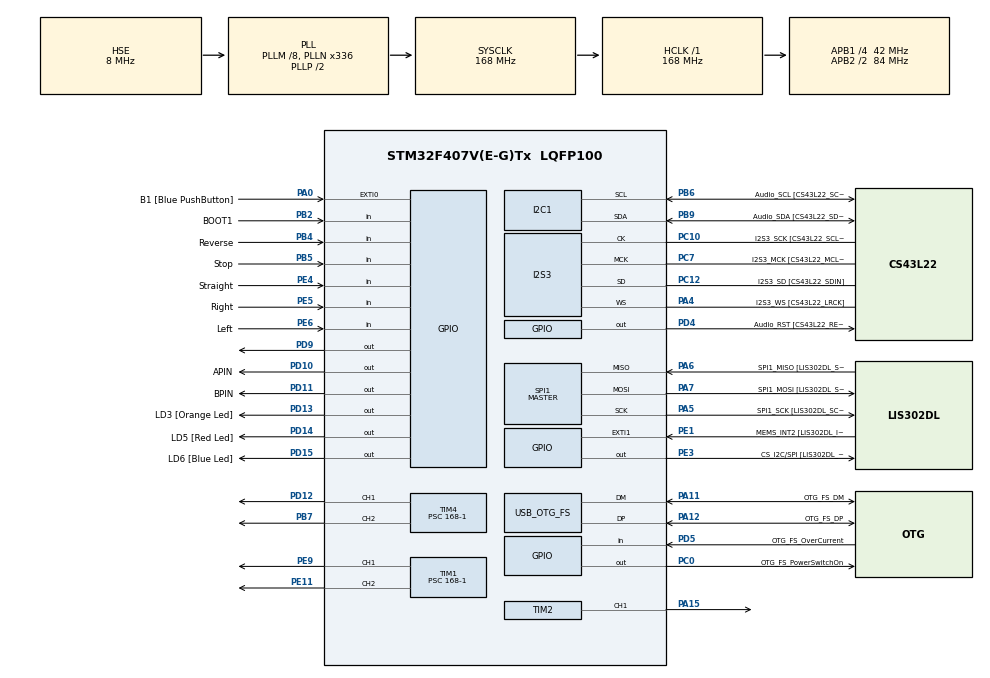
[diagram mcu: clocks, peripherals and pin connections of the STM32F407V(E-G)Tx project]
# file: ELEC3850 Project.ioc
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I2S3.AudioFreq-Half_Duplex_Master=I2S_AUDIOFREQ_96K
I2S3.ErrorAudioFreq=-2.34 %
I2S3.ErrorAudioFreq-Half_Duplex_Master=0.8 %
I2S3.FullDuplexMode=I2S_FULLDUPLEXMODE_DISABLE
I2S3.Instance=SPI$Index
I2S3.RealAudioFreq=93.75 KHz
I2S3.RealAudioFreq-Half_Duplex_Master=96.774 KHz
I2S3.VirtualMode=I2S_MODE_MASTER
Mcu.Family=STM32F4
Mcu.Name=STM32F407V(E-G)Tx
Mcu.Package=LQFP100
NVIC.EXTI0_IRQn=true\:0\:0\:false\:false\:true\:true\:true
NVIC.OTG_FS_IRQn=true\:0\:0\:false\:false\:true\:true\:true
NVIC.PriorityGroup=NVIC_PRIORITYGROUP_0
NVIC.TIM3_IRQn=true\:0\:0\:false\:false\:true\:true\:true
PA0-WKUP.GPIO_Label=B1 [Blue PushButton]
PA0-WKUP.GPIO_ModeDefaultEXTI=GPIO_MODE_IT_RISING
PA0-WKUP.GPIO_PuPd=GPIO_NOPULL
PA0-WKUP.Signal=GPXTI0
PA10.GPIO_Label=OTG_FS_ID
PA10.GPIO_Mode=GPIO_MODE_AF_PP
PA10.GPIO_PuPd=GPIO_NOPULL
PA10.GPIO_Speed=GPIO_SPEED_FREQ_LOW
PA10.Signal=USB_OTG_FS_ID
PA11.GPIO_Label=OTG_FS_DM
PA11.GPIO_Mode=GPIO_MODE_AF_PP
PA11.GPIO_PuPd=GPIO_NOPULL
PA11.GPIO_Speed=GPIO_SPEED_FREQ_LOW
PA11.Mode=Device_Only
PA11.Signal=USB_OTG_FS_DM
PA12.GPIO_Label=OTG_FS_DP
PA12.GPIO_Mode=GPIO_MODE_AF_PP
PA12.GPIO_PuPd=GPIO_NOPULL
PA12.GPIO_Speed=GPIO_SPEED_FREQ_LOW
PA12.Mode=Device_Only
PA12.Signal=USB_OTG_FS_DP
PA13.GPIO_Label=SWDIO
PA13.Mode=Serial_Wire
PA13.Signal=SYS_JTMS-SWDIO
PA14.GPIO_Label=SWCLK
PA14.Mode=Serial_Wire
PA14.Signal=SYS_JTCK-SWCLK
PA15.Signal=S_TIM2_CH1_ETR
PA4.GPIO_Label=I2S3_WS [CS43L22_LRCK]
PA4.GPIO_Mode=GPIO_MODE_AF_PP
PA4.GPIO_PuPd=GPIO_NOPULL
PA4.GPIO_Speed=GPIO_SPEED_FREQ_LOW
PA4.Mode=Half_Duplex_Master
PA4.Signal=I2S3_WS
PA5.GPIO_Label=SPI1_SCK [LIS302DL_SCL/SPC]
PA5.GPIO_Mode=GPIO_MODE_AF_PP
PA5.GPIO_PuPd=GPIO_NOPULL
PA5.GPIO_Speed=GPIO_SPEED_FREQ_LOW
PA5.Mode=Full_Duplex_Master
PA5.Signal=SPI1_SCK
PA6.GPIO_Label=SPI1_MISO [LIS302DL_SDO]
PA6.GPIO_Mode=GPIO_MODE_AF_PP
PA6.GPIO_PuPd=GPIO_NOPULL
PA6.GPIO_Speed=GPIO_SPEED_FREQ_LOW
PA6.Mode=Full_Duplex_Master
PA6.Signal=SPI1_MISO
PA7.GPIO_Label=SPI1_MOSI [LIS302DL_SDA/SDI/SDO]
PA7.GPIO_Mode=GPIO_MODE_AF_PP
PA7.GPIO_PuPd=GPIO_NOPULL
PA7.GPIO_Speed=GPIO_SPEED_FREQ_LOW
PA7.Mode=Full_Duplex_Master
PA7.Signal=SPI1_MOSI
PA9.GPIO_Label=VBUS_FS
PA9.GPIO_Mode=GPIO_MODE_INPUT
PA9.GPIO_PuPd=GPIO_NOPULL
PA9.Signal=USB_OTG_FS_VBUS
PB10.GPIO_Label=CLK_IN [MP45DT02_CLK]
PB10.GPIO_Mode=GPIO_MODE_AF_PP
PB10.GPIO_PuPd=GPIO_NOPULL
PB10.GPIO_Speed=GPIO_SPEED_FREQ_LOW
PB10.Signal=I2S2_CK
PB2.GPIO_Label=BOOT1
PB2.GPIO_Mode=GPIO_MODE_INPUT
PB2.GPIO_PuPd=GPIO_NOPULL
PB2.Signal=GPIO_Input
PB3.GPIO_Label=SWO
PB3.Signal=SYS_JTDO-SWO
PB4.GPIO_Label=Reverse
PB4.GPIO_PuPd=GPIO_PULLDOWN
PB4.Signal=GPIO_Input
PB5.GPIO_Label=Stop
PB5.GPIO_PuPd=GPIO_PULLDOWN
PB5.Signal=GPIO_Input
PB6.GPIO_Label=Audio_SCL [CS43L22_SCL]
PB6.GPIO_Mode=GPIO_MODE_AF_OD
PB6.GPIO_PuPd=GPIO_NOPULL
PB6.GPIO_Speed=GPIO_SPEED_FREQ_LOW
PB6.Mode=I2C
PB6.Signal=I2C1_SCL
PB7.Signal=S_TIM4_CH2
PB9.GPIO_Label=Audio_SDA [CS43L22_SDA]
PB9.GPIO_Mode=GPIO_MODE_AF_OD
PB9.GPIO_PuPd=GPIO_NOPULL
PB9.GPIO_Speed=GPIO_SPEED_FREQ_LOW
PB9.Mode=I2C
PB9.Signal=I2C1_SDA
PC0.GPIO_Label=OTG_FS_PowerSwitchOn
PC0.GPIO_PuPd=GPIO_NOPULL
PC0.GPIO_Speed=GPIO_SPEED_FREQ_LOW
PC0.PinState=GPIO_PIN_SET
PC0.Signal=GPIO_Output
PC10.GPIO_Label=I2S3_SCK [CS43L22_SCLK]
PC10.GPIO_Mode=GPIO_MODE_AF_PP
PC10.GPIO_PuPd=GPIO_NOPULL
PC10.GPIO_Speed=GPIO_SPEED_FREQ_LOW
PC10.Mode=Half_Duplex_Master
PC10.Signal=I2S3_CK
PC12.GPIO_Label=I2S3_SD [CS43L22_SDIN]
PC12.GPIO_Mode=GPIO_MODE_AF_PP
PC12.GPIO_PuPd=GPIO_NOPULL
PC12.GPIO_Speed=GPIO_SPEED_FREQ_LOW
PC12.Mode=Half_Duplex_Master
PC12.Signal=I2S3_SD
PC14-OSC32_IN.GPIO_Label=PC14-OSC32_IN
PC14-OSC32_IN.Mode=LSE-External-Oscillator
PC14-OSC32_IN.Signal=RCC_OSC32_IN
PC15-OSC32_OUT.GPIO_Label=PC15-OSC32_OUT
PC15-OSC32_OUT.Mode=LSE-External-Oscillator
PC15-OSC32_OUT.Signal=RCC_OSC32_OUT
PC3.GPIO_Label=PDM_OUT [MP45DT02_DOUT]
PC3.GPIO_Mode=GPIO_MODE_AF_PP
PC3.GPIO_PuPd=GPIO_NOPULL
PC3.GPIO_Speed=GPIO_SPEED_FREQ_LOW
PC3.Signal=I2S2_SD
PC7.GPIO_Label=I2S3_MCK [CS43L22_MCLK]
PC7.GPIO_Mode=GPIO_MODE_AF_PP
PC7.GPIO_PuPd=GPIO_NOPULL
PC7.GPIO_Speed=GPIO_SPEED_FREQ_LOW
PC7.Mode=Master_Clock_Activated
PC7.Signal=I2S3_MCK
PD10.GPIO_Label=APIN
PD10.Signal=GPIO_Output
PD11.GPIO_Label=BPIN
PD11.Signal=GPIO_Output
PD12.Signal=S_TIM4_CH1
PD13.GPIO_Label=LD3 [Orange Led]
PD13.GPIO_PuPd=GPIO_NOPULL
PD13.GPIO_Speed=GPIO_SPEED_FREQ_LOW
PD13.Signal=GPIO_Output
PD14.GPIO_Label=LD5 [Red Led]
PD14.GPIO_PuPd=GPIO_NOPULL
PD14.GPIO_Speed=GPIO_SPEED_FREQ_LOW
PD14.Signal=GPIO_Output
PD15.GPIO_Label=LD6 [Blue Led]
PD15.GPIO_PuPd=GPIO_NOPULL
PD15.GPIO_Speed=GPIO_SPEED_FREQ_LOW
PD15.Signal=GPIO_Output
PD4.GPIO_Label=Audio_RST [CS43L22_RESET]
PD4.GPIO_PuPd=GPIO_NOPULL
PD4.GPIO_Speed=GPIO_SPEED_FREQ_LOW
PD4.Signal=GPIO_Output
PD5.GPIO_Label=OTG_FS_OverCurrent
PD5.GPIO_Mode=GPIO_MODE_INPUT
PD5.GPIO_PuPd=GPIO_NOPULL
PD5.Signal=GPIO_Input
PD9.Signal=GPIO_Output
PE1.GPIO_Label=MEMS_INT2 [LIS302DL_INT2]
PE1.GPIO_ModeDefaultEXTI=GPIO_MODE_EVT_RISING
PE1.GPIO_PuPd=GPIO_NOPULL
PE1.Signal=GPXTI1
PE11.Signal=S_TIM1_CH2
PE3.GPIO_Label=CS_I2C/SPI [LIS302DL_CS_I2C/SPI]
PE3.GPIO_PuPd=GPIO_NOPULL
PE3.GPIO_Speed=GPIO_SPEED_FREQ_LOW
PE3.Signal=GPIO_Output
PE4.GPIO_Label=Straight
PE4.GPIO_PuPd=GPIO_PULLDOWN
PE4.Signal=GPIO_Input
PE5.GPIO_Label=Right
PE5.GPIO_PuPd=GPIO_PULLDOWN
PE5.Signal=GPIO_Input
PE6.GPIO_Label=Left
PE6.GPIO_PuPd=GPIO_PULLDOWN
PE6.Signal=GPIO_Input
PE9.Signal=S_TIM1_CH1
PH0-OSC_IN.GPIO_Label=PH0-OSC_IN
PH0-OSC_IN.Mode=HSE-External-Oscillator
PH0-OSC_IN.Signal=RCC_OSC_IN
PH1-OSC_OUT.GPIO_Label=PH1-OSC_OUT
PH1-OSC_OUT.Mode=HSE-External-Oscillator
PH1-OSC_OUT.Signal=RCC_OSC_OUT
ProjectManager.HeapSize=0x200
ProjectManager.StackSize=0x400
ProjectManager.TargetToolchain=STM32CubeIDE
RCC.48MHZClocksFreq_Value=48000000
RCC.AHBFreq_Value=168000000
RCC.APB1CLKDivider=RCC_HCLK_DIV4
RCC.APB1Freq_Value=42000000
RCC.APB1TimFreq_Value=84000000
RCC.APB2CLKDivider=RCC_HCLK_DIV2
RCC.APB2Freq_Value=84000000
RCC.APB2TimFreq_Value=168000000
RCC.CortexFreq_Value=168000000
RCC.HCLKFreq_Value=168000000
RCC.HSE_VALUE=8000000
RCC.HSI_VALUE=16000000
RCC.PLLM=8
RCC.PLLN=336
RCC.PLLQ=7
RCC.SYSCLKFreq_VALUE=168000000
RCC.SYSCLKSource=RCC_SYSCLKSOURCE_PLLCLK
RCC.VCOOutputFreq_Value=336000000
SH.S_TIM1_CH1.0=TIM1_CH1,PWM Generation1 CH1
SH.S_TIM1_CH2.0=TIM1_CH2,PWM Generation2 CH2
SH.S_TIM2_CH1_ETR.0=TIM2_CH1,PWM Generation1 CH1
SH.S_TIM4_CH1.0=TIM4_CH1,PWM Generation1 CH1
SH.S_TIM4_CH2.0=TIM4_CH2,PWM Generation2 CH2
SPI1.BaudRatePrescaler-Full_Duplex_Master=SPI_BAUDRATEPRESCALER_2
SPI1.CalculateBaudRate-Full_Duplex_Master=42.0 MBits/s
SPI1.Direction=SPI_DIRECTION_2LINES
SPI1.Mode=SPI_MODE_MASTER
SPI1.Mode-Full_Duplex_Master=SPI_MODE_MASTER
SPI1.VirtualType=VM_MASTER
TIM1.Channel-PWM\ Generation1\ CH1=TIM_CHANNEL_1
TIM1.Channel-PWM\ Generation2\ CH2=TIM_CHANNEL_2
TIM1.Period=100-1
TIM1.Prescaler=168-1
TIM1.Pulse-PWM\ Generation1\ CH1=30
TIM1.Pulse-PWM\ Generation2\ CH2=90
TIM2.Channel-PWM\ Generation1\ CH1=TIM_CHANNEL_1
TIM2.Period=2000-1
TIM2.Prescaler=540
TIM4.Channel-PWM\ Generation1\ CH1=TIM_CHANNEL_1
TIM4.Channel-PWM\ Generation2\ CH2=TIM_CHANNEL_2
TIM4.Period=100-1
TIM4.Prescaler=168-1
TIM4.Pulse-PWM\ Generation1\ CH1=30
TIM4.Pulse-PWM\ Generation2\ CH2=90
USB_DEVICE.CLASS_NAME_FS=CDC
USB_DEVICE.VirtualMode-CDC_FS=Cdc
USB_DEVICE.VirtualModeFS=Cdc_FS
USB_OTG_FS.VirtualMode=Device_Only
VP_TIM1_VS_ClockSourceINT.Mode=Internal
VP_TIM2_VS_ClockSourceINT.Mode=Internal
VP_TIM3_VS_ClockSourceINT.Mode=Internal
VP_TIM4_VS_ClockSourceINT.Mode=Internal
VP_USB_DEVICE_VS_USB_DEVICE_CDC_FS.Mode=CDC_FS
board=STM32F4DISCOVERY

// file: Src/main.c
/* USER CODE BEGIN Header */
/**
 ******************************************************************************
 * @file           : main.c
 * @brief          : Main program body
 ******************************************************************************
 * @attention
 *
 * <h2><center>&copy; Copyright (c) 2019 STMicroelectronics.
 * All rights reserved.</center></h2>
 *
 * This software component is licensed by ST under Ultimate Liberty license
 * SLA0044, the "License"; You may not use this file except in compliance with
 * the License. You may obtain a copy of the License at:
 *                             www.st.com/SLA0044
 *
 ******************************************************************************
 */
/* USER CODE END Header */

#include "main.h"
#include "usb_device.h"

I2C_HandleTypeDef hi2c1;

I2S_HandleTypeDef hi2s3;

SPI_HandleTypeDef hspi1;

TIM_HandleTypeDef htim1;
TIM_HandleTypeDef htim2;
TIM_HandleTypeDef htim3;
TIM_HandleTypeDef htim4;

void SystemClock_Config(void);
static void MX_GPIO_Init(void);
static void MX_I2C1_Init(void);
static void MX_I2S3_Init(void);
static void MX_SPI1_Init(void);
static void MX_TIM3_Init(void);
static void MX_TIM4_Init(void);
static void MX_TIM2_Init(void);
static void MX_TIM1_Init(void);

/* USER CODE BEGIN 0 */

/*
 * pwm_setvalue(); sets pwm value for motor drive, produced by Gus
 * This function gives full control for gate switching!!
 *
 * &htim4: address of timer 1
 * 						"B diagonal of H-BRIDGE"
 * &htim1: address of timer 2
 * 						"A diagonal of H-BRIDGE"
 * TIM_CHANNEL_1 : points to channel one of the timer
 * 						"HIGH-SIDE of H-BRIDGE"
 * TIM_CHANNEL_2 : points to channel two of the timer
 * 						"LOW-SIDE of H-BRIDGE"
*/
void pwm_setvalue(int a, uint16_t high_a, uint16_t low_a, uint16_t high_b, uint16_t low_b)
{
	//Timer configuration setup

	TIM_OC_InitTypeDef sConfigOC, sConfigOC1;

	//Timer one requirements
	sConfigOC.OCMode = TIM_OCMODE_PWM1;
	sConfigOC.OCPolarity = TIM_OCPOLARITY_HIGH;
	sConfigOC.OCFastMode = TIM_OCFAST_DISABLE;

	//Timer four requirements
	sConfigOC1.OCMode = TIM_OCMODE_PWM1;
	sConfigOC1.OCPolarity = TIM_OCPOLARITY_HIGH;
	sConfigOC1.OCFastMode = TIM_OCFAST_DISABLE;
	sConfigOC1.OCIdleState = TIM_OCIDLESTATE_RESET;
	sConfigOC1.OCNIdleState = TIM_OCNIDLESTATE_RESET;
	sConfigOC1.OCNPolarity = TIM_OCNPOLARITY_HIGH;

	//Stop motors: turn on both low gates
	switch(a){

	//Forward Stop
		case 0:

			sConfigOC.Pulse = 0;
			sConfigOC1.Pulse = 0;
			//Turn off all sides except low_b
			if (HAL_TIM_PWM_ConfigChannel(&htim4, &sConfigOC, TIM_CHANNEL_1) != HAL_OK)
			{
				Error_Handler();
			}
			if (HAL_TIM_PWM_ConfigChannel(&htim1, &sConfigOC1, TIM_CHANNEL_1) != HAL_OK)
			{
				Error_Handler();
			}
			HAL_TIM_PWM_Start(&htim4, TIM_CHANNEL_1);
			HAL_TIM_PWM_Start(&htim1, TIM_CHANNEL_1);

			//Turn on low side
			sConfigOC.Pulse = low_a;
			sConfigOC1.Pulse = low_b;
			if (HAL_TIM_PWM_ConfigChannel(&htim4, &sConfigOC, TIM_CHANNEL_2) != HAL_OK)
			{
				Error_Handler();
			}
			if (HAL_TIM_PWM_ConfigChannel(&htim1, &sConfigOC1, TIM_CHANNEL_2) != HAL_OK)
			{
				Error_Handler();
			}
			HAL_TIM_PWM_Start(&htim4, TIM_CHANNEL_2);
			HAL_TIM_PWM_Start(&htim1, TIM_CHANNEL_2);

		break;

		//Go forwards: switch off low_a and high_b and turn on high_a and low_b

		case 1:

			sConfigOC1.Pulse = 0;
			//switch off low_b and high_b
			if (HAL_TIM_PWM_ConfigChannel(&htim1, &sConfigOC1, TIM_CHANNEL_1) != HAL_OK)
			{
				Error_Handler();
			}
			if (HAL_TIM_PWM_ConfigChannel(&htim1, &sConfigOC1, TIM_CHANNEL_2) != HAL_OK)
			{
				Error_Handler();
			}
			HAL_TIM_PWM_Start(&htim1, TIM_CHANNEL_1);
			HAL_TIM_PWM_Start(&htim1, TIM_CHANNEL_2);

			//turn on low_a - allow motor to discharge
			sConfigOC.Pulse = low_a;
			if (HAL_TIM_PWM_ConfigChannel(&htim4, &sConfigOC, TIM_CHANNEL_2) != HAL_OK)
			{
				Error_Handler();
			}
			HAL_TIM_PWM_Start(&htim4, TIM_CHANNEL_2);

			//turn on high_a - produce current through motor
			sConfigOC.Pulse = high_a;
			if (HAL_TIM_PWM_ConfigChannel(&htim4, &sConfigOC, TIM_CHANNEL_1) != HAL_OK)
			{
				Error_Handler();
			}
			HAL_TIM_PWM_Start(&htim4, TIM_CHANNEL_1);

		break;

	//Go backwards: switch off high_a and low_b and turn on low_a and high_b
		case 2:

			sConfigOC.Pulse = 0;
			//switch off high_a and low_a
			if (HAL_TIM_PWM_ConfigChannel(&htim4, &sConfigOC, TIM_CHANNEL_1) != HAL_OK)
			{
				Error_Handler();
			}
			if (HAL_TIM_PWM_ConfigChannel(&htim4, &sConfigOC, TIM_CHANNEL_2) != HAL_OK)
			{
				Error_Handler();
			}
			HAL_TIM_PWM_Start(&htim4, TIM_CHANNEL_1);
			HAL_TIM_PWM_Start(&htim4, TIM_CHANNEL_2);

			//turn on low_b - allow motor to discharge
			sConfigOC1.Pulse = low_b;
			if (HAL_TIM_PWM_ConfigChannel(&htim1, &sConfigOC1, TIM_CHANNEL_2) != HAL_OK)
			{
				Error_Handler();
			}
			HAL_TIM_PWM_Start(&htim1, TIM_CHANNEL_2);

			//turn on high_b - produce current through motor
			sConfigOC1.Pulse = high_b;
			if (HAL_TIM_PWM_ConfigChannel(&htim1, &sConfigOC1, TIM_CHANNEL_1) != HAL_OK)
			{
				Error_Handler();
			}
			HAL_TIM_PWM_Start(&htim1, TIM_CHANNEL_1);

		break;
	}
}

void steer_pwm_setvalue(uint16_t value)
{
	TIM_OC_InitTypeDef sConfigOC;
	sConfigOC.OCMode = TIM_OCMODE_PWM1;
	sConfigOC.Pulse = value;
	sConfigOC.OCPolarity = TIM_OCPOLARITY_HIGH;
	sConfigOC.OCFastMode = TIM_OCFAST_DISABLE;
	if (HAL_TIM_PWM_ConfigChannel(&htim2, &sConfigOC, TIM_CHANNEL_1) != HAL_OK)
	{
		Error_Handler();
	}
	HAL_TIM_PWM_Start(&htim2, TIM_CHANNEL_1);
}

//Steering functions
void steer_left()
{
	steer_pwm_setvalue(200);
}

void steer_straight()
{
	steer_pwm_setvalue(234);
}

void steer_right()
{
	steer_pwm_setvalue(280);
}

void drive_forward(uint16_t pwm)
{
	int i;
	for(i = 0; i<(int)pwm; i++)
	{
		//pwm_setvalue(case, high_a, low_a, high_b, low_b);
		pwm_setvalue(1, i, 90, 0, 0);
	}
}

void drive_backward(uint16_t pwm)
{
	//int i;
	//for(i = 0; i<(int)pwm; i++)
	{
		//pwm_setvalue(case, high_a, low_a, high_b, low_b);
		pwm_setvalue(2, 0, 0, pwm, 90);
	//}
}

void stop(uint16_t pwm){
	//pwm_setvalue(case, high_a, low_a, high_b, low_b);
	pwm_setvalue(0, 0, pwm, 0, pwm);
}

/* USER CODE END 0 */

int main(void)
{

  /* MCU Configuration--------------------------------------------------------*/

  /* Reset of all peripherals, Initializes the Flash interface and the Systick. */
  HAL_Init();

  /* Configure the system clock */
  SystemClock_Config();

  /* Initialize all configured peripherals */
  MX_GPIO_Init();
  MX_I2C1_Init();
  MX_I2S3_Init();
  MX_SPI1_Init();
  MX_USB_DEVICE_Init();
  MX_TIM3_Init();
  MX_TIM4_Init();
  MX_TIM2_Init();
  MX_TIM1_Init();
  /* USER CODE BEGIN 2 */

	HAL_TIM_Base_Start_IT(&htim3);

	uint8_t Reverse = 0;
	uint8_t Stop = 0;
	uint8_t turn_right = 0;
	uint8_t Straight = 0;

	steer_straight();
	drive_forward(29); // try PWM = 25 for Task 1 to stop at 1mm ;)
	int k = 0;

  /* USER CODE END 2 */

  /* Infinite loop */

    /* USER CODE BEGIN 3 */
	while(1)
	{
		/*		TASK 1		*/
		/*
		Stop = HAL_GPIO_ReadPin(Stop_GPIO_Port, Stop_Pin);

		while(Stop == 1)
		{
			if(!k){
				drive_backward(50);
				HAL_Delay(200);
				stop(100);
			}

			Reverse = HAL_GPIO_ReadPin(Reverse_GPIO_Port, Reverse_Pin);
			while(Reverse == 1)
			{
				Stop = 0;
				drive_backward(35);
				Stop = HAL_GPIO_ReadPin(Stop_GPIO_Port, Stop_Pin);
				while(Stop == 1)
				{
					stop(100);
				}
			}
			k = 1;
		}
		*/
		/*		TASK 2		*/
		turn_right = HAL_GPIO_ReadPin(Right_GPIO_Port, Right_Pin);
		while(turn_right)
		{
			if(k == 0)
			{
				steer_right();
				k++;
			}
			Straight = HAL_GPIO_ReadPin(Straight_GPIO_Port, Straight_Pin);
			while(Straight == 1)
			{
				if(k == 1)
				{
					turn_right = 0;
					steer_straight();
					k++;
				}
				turn_right = HAL_GPIO_ReadPin(Right_GPIO_Port, Right_Pin);
				while(turn_right == 1)
				{
					if(k == 2)
					{
						Straight = 0;
						steer_right();
						k++;
					}
					Stop = HAL_GPIO_ReadPin(Stop_GPIO_Port, Stop_Pin);
					while(Stop == 1)
					{
						if(k == 3)
						{
							drive_backward(35);
							k++;
							HAL_Delay(200);
						}
						stop(30);
					}
				}
			}
		}
	}
  /* USER CODE END 3 */
}

void SystemClock_Config(void)
{
  RCC_OscInitTypeDef RCC_OscInitStruct = {0};
  RCC_ClkInitTypeDef RCC_ClkInitStruct = {0};
  RCC_PeriphCLKInitTypeDef PeriphClkInitStruct = {0};

  /** Configure the main internal regulator output voltage
  */
  __HAL_RCC_PWR_CLK_ENABLE();
  __HAL_PWR_VOLTAGESCALING_CONFIG(PWR_REGULATOR_VOLTAGE_SCALE1);
  /** Initializes the CPU, AHB and APB busses clocks
  */
  RCC_OscInitStruct.OscillatorType = RCC_OSCILLATORTYPE_HSE;
  RCC_OscInitStruct.HSEState = RCC_HSE_ON;
  RCC_OscInitStruct.PLL.PLLState = RCC_PLL_ON;
  RCC_OscInitStruct.PLL.PLLSource = RCC_PLLSOURCE_HSE;
  RCC_OscInitStruct.PLL.PLLM = 8;
  RCC_OscInitStruct.PLL.PLLN = 336;
  RCC_OscInitStruct.PLL.PLLP = RCC_PLLP_DIV2;
  RCC_OscInitStruct.PLL.PLLQ = 7;
  if (HAL_RCC_OscConfig(&RCC_OscInitStruct) != HAL_OK)
  {
    Error_Handler();
  }
  /** Initializes the CPU, AHB and APB busses clocks
  */
  RCC_ClkInitStruct.ClockType = RCC_CLOCKTYPE_HCLK|RCC_CLOCKTYPE_SYSCLK
                              |RCC_CLOCKTYPE_PCLK1|RCC_CLOCKTYPE_PCLK2;
  RCC_ClkInitStruct.SYSCLKSource = RCC_SYSCLKSOURCE_PLLCLK;
  RCC_ClkInitStruct.AHBCLKDivider = RCC_SYSCLK_DIV1;
  RCC_ClkInitStruct.APB1CLKDivider = RCC_HCLK_DIV4;
  RCC_ClkInitStruct.APB2CLKDivider = RCC_HCLK_DIV2;

  if (HAL_RCC_ClockConfig(&RCC_ClkInitStruct, FLASH_LATENCY_5) != HAL_OK)
  {
    Error_Handler();
  }
  PeriphClkInitStruct.PeriphClockSelection = RCC_PERIPHCLK_I2S;
  PeriphClkInitStruct.PLLI2S.PLLI2SN = 192;
  PeriphClkInitStruct.PLLI2S.PLLI2SR = 2;
  if (HAL_RCCEx_PeriphCLKConfig(&PeriphClkInitStruct) != HAL_OK)
  {
    Error_Handler();
  }
}

static void MX_I2C1_Init(void)
{

  hi2c1.Instance = I2C1;
  hi2c1.Init.ClockSpeed = 100000;
  hi2c1.Init.DutyCycle = I2C_DUTYCYCLE_2;
  hi2c1.Init.OwnAddress1 = 0;
  hi2c1.Init.AddressingMode = I2C_ADDRESSINGMODE_7BIT;
  hi2c1.Init.DualAddressMode = I2C_DUALADDRESS_DISABLE;
  hi2c1.Init.OwnAddress2 = 0;
  hi2c1.Init.GeneralCallMode = I2C_GENERALCALL_DISABLE;
  hi2c1.Init.NoStretchMode = I2C_NOSTRETCH_DISABLE;
  if (HAL_I2C_Init(&hi2c1) != HAL_OK)
  {
    Error_Handler();
  }

}

static void MX_I2S3_Init(void)
{

  hi2s3.Instance = SPI3;
  hi2s3.Init.Mode = I2S_MODE_MASTER_TX;
  hi2s3.Init.Standard = I2S_STANDARD_PHILIPS;
  hi2s3.Init.DataFormat = I2S_DATAFORMAT_16B;
  hi2s3.Init.MCLKOutput = I2S_MCLKOUTPUT_ENABLE;
  hi2s3.Init.AudioFreq = I2S_AUDIOFREQ_96K;
  hi2s3.Init.CPOL = I2S_CPOL_LOW;
  hi2s3.Init.ClockSource = I2S_CLOCK_PLL;
  hi2s3.Init.FullDuplexMode = I2S_FULLDUPLEXMODE_DISABLE;
  if (HAL_I2S_Init(&hi2s3) != HAL_OK)
  {
    Error_Handler();
  }

}

static void MX_SPI1_Init(void)
{

  /* SPI1 parameter configuration*/
  hspi1.Instance = SPI1;
  hspi1.Init.Mode = SPI_MODE_MASTER;
  hspi1.Init.Direction = SPI_DIRECTION_2LINES;
  hspi1.Init.DataSize = SPI_DATASIZE_8BIT;
  hspi1.Init.CLKPolarity = SPI_POLARITY_LOW;
  hspi1.Init.CLKPhase = SPI_PHASE_1EDGE;
  hspi1.Init.NSS = SPI_NSS_SOFT;
  hspi1.Init.BaudRatePrescaler = SPI_BAUDRATEPRESCALER_2;
  hspi1.Init.FirstBit = SPI_FIRSTBIT_MSB;
  hspi1.Init.TIMode = SPI_TIMODE_DISABLE;
  hspi1.Init.CRCCalculation = SPI_CRCCALCULATION_DISABLE;
  hspi1.Init.CRCPolynomial = 10;
  if (HAL_SPI_Init(&hspi1) != HAL_OK)
  {
    Error_Handler();
  }

}

static void MX_TIM1_Init(void)
{

  TIM_ClockConfigTypeDef sClockSourceConfig = {0};
  TIM_MasterConfigTypeDef sMasterConfig = {0};
  TIM_OC_InitTypeDef sConfigOC = {0};
  TIM_BreakDeadTimeConfigTypeDef sBreakDeadTimeConfig = {0};

  htim1.Instance = TIM1;
  htim1.Init.Prescaler = 168-1;
  htim1.Init.CounterMode = TIM_COUNTERMODE_UP;
  htim1.Init.Period = 100-1;
  htim1.Init.ClockDivision = TIM_CLOCKDIVISION_DIV1;
  htim1.Init.RepetitionCounter = 0;
  htim1.Init.AutoReloadPreload = TIM_AUTORELOAD_PRELOAD_DISABLE;
  if (HAL_TIM_Base_Init(&htim1) != HAL_OK)
  {
    Error_Handler();
  }
  sClockSourceConfig.ClockSource = TIM_CLOCKSOURCE_INTERNAL;
  if (HAL_TIM_ConfigClockSource(&htim1, &sClockSourceConfig) != HAL_OK)
  {
    Error_Handler();
  }
  if (HAL_TIM_PWM_Init(&htim1) != HAL_OK)
  {
    Error_Handler();
  }
  sMasterConfig.MasterOutputTrigger = TIM_TRGO_RESET;
  sMasterConfig.MasterSlaveMode = TIM_MASTERSLAVEMODE_DISABLE;
  if (HAL_TIMEx_MasterConfigSynchronization(&htim1, &sMasterConfig) != HAL_OK)
  {
    Error_Handler();
  }
  sConfigOC.OCMode = TIM_OCMODE_PWM1;
  sConfigOC.Pulse = 30;
  sConfigOC.OCPolarity = TIM_OCPOLARITY_HIGH;
  sConfigOC.OCNPolarity = TIM_OCNPOLARITY_HIGH;
  sConfigOC.OCFastMode = TIM_OCFAST_DISABLE;
  sConfigOC.OCIdleState = TIM_OCIDLESTATE_RESET;
  sConfigOC.OCNIdleState = TIM_OCNIDLESTATE_RESET;
  if (HAL_TIM_PWM_ConfigChannel(&htim1, &sConfigOC, TIM_CHANNEL_1) != HAL_OK)
  {
    Error_Handler();
  }
  sConfigOC.Pulse = 90;
  if (HAL_TIM_PWM_ConfigChannel(&htim1, &sConfigOC, TIM_CHANNEL_2) != HAL_OK)
  {
    Error_Handler();
  }
  sBreakDeadTimeConfig.OffStateRunMode = TIM_OSSR_DISABLE;
  sBreakDeadTimeConfig.OffStateIDLEMode = TIM_OSSI_DISABLE;
  sBreakDeadTimeConfig.LockLevel = TIM_LOCKLEVEL_OFF;
  sBreakDeadTimeConfig.DeadTime = 0;
  sBreakDeadTimeConfig.BreakState = TIM_BREAK_DISABLE;
  sBreakDeadTimeConfig.BreakPolarity = TIM_BREAKPOLARITY_HIGH;
  sBreakDeadTimeConfig.AutomaticOutput = TIM_AUTOMATICOUTPUT_DISABLE;
  if (HAL_TIMEx_ConfigBreakDeadTime(&htim1, &sBreakDeadTimeConfig) != HAL_OK)
  {
    Error_Handler();
  }
  HAL_TIM_MspPostInit(&htim1);

}

static void MX_TIM2_Init(void)
{

  TIM_ClockConfigTypeDef sClockSourceConfig = {0};
  TIM_MasterConfigTypeDef sMasterConfig = {0};
  TIM_OC_InitTypeDef sConfigOC = {0};

  htim2.Instance = TIM2;
  htim2.Init.Prescaler = 540;
  htim2.Init.CounterMode = TIM_COUNTERMODE_UP;
  htim2.Init.Period = 2000-1;
  htim2.Init.ClockDivision = TIM_CLOCKDIVISION_DIV1;
  htim2.Init.AutoReloadPreload = TIM_AUTORELOAD_PRELOAD_DISABLE;
  if (HAL_TIM_Base_Init(&htim2) != HAL_OK)
  {
    Error_Handler();
  }
  sClockSourceConfig.ClockSource = TIM_CLOCKSOURCE_INTERNAL;
  if (HAL_TIM_ConfigClockSource(&htim2, &sClockSourceConfig) != HAL_OK)
  {
    Error_Handler();
  }
  if (HAL_TIM_PWM_Init(&htim2) != HAL_OK)
  {
    Error_Handler();
  }
  sMasterConfig.MasterOutputTrigger = TIM_TRGO_RESET;
  sMasterConfig.MasterSlaveMode = TIM_MASTERSLAVEMODE_DISABLE;
  if (HAL_TIMEx_MasterConfigSynchronization(&htim2, &sMasterConfig) != HAL_OK)
  {
    Error_Handler();
  }
  sConfigOC.OCMode = TIM_OCMODE_PWM1;
  sConfigOC.Pulse = 0;
  sConfigOC.OCPolarity = TIM_OCPOLARITY_HIGH;
  sConfigOC.OCFastMode = TIM_OCFAST_DISABLE;
  if (HAL_TIM_PWM_ConfigChannel(&htim2, &sConfigOC, TIM_CHANNEL_1) != HAL_OK)
  {
    Error_Handler();
  }
  HAL_TIM_MspPostInit(&htim2);

}

static void MX_TIM3_Init(void)
{

  TIM_ClockConfigTypeDef sClockSourceConfig = {0};
  TIM_MasterConfigTypeDef sMasterConfig = {0};

  htim3.Instance = TIM3;
  htim3.Init.Prescaler = 0;
  htim3.Init.CounterMode = TIM_COUNTERMODE_UP;
  htim3.Init.Period = 0;
  htim3.Init.ClockDivision = TIM_CLOCKDIVISION_DIV1;
  htim3.Init.AutoReloadPreload = TIM_AUTORELOAD_PRELOAD_DISABLE;
  if (HAL_TIM_Base_Init(&htim3) != HAL_OK)
  {
    Error_Handler();
  }
  sClockSourceConfig.ClockSource = TIM_CLOCKSOURCE_INTERNAL;
  if (HAL_TIM_ConfigClockSource(&htim3, &sClockSourceConfig) != HAL_OK)
  {
    Error_Handler();
  }
  sMasterConfig.MasterOutputTrigger = TIM_TRGO_RESET;
  sMasterConfig.MasterSlaveMode = TIM_MASTERSLAVEMODE_DISABLE;
  if (HAL_TIMEx_MasterConfigSynchronization(&htim3, &sMasterConfig) != HAL_OK)
  {
    Error_Handler();
  }

}

static void MX_TIM4_Init(void)
{

  TIM_ClockConfigTypeDef sClockSourceConfig = {0};
  TIM_MasterConfigTypeDef sMasterConfig = {0};
  TIM_OC_InitTypeDef sConfigOC = {0};

  htim4.Instance = TIM4;
  htim4.Init.Prescaler = 168-1;
  htim4.Init.CounterMode = TIM_COUNTERMODE_UP;
  htim4.Init.Period = 100-1;
  htim4.Init.ClockDivision = TIM_CLOCKDIVISION_DIV1;
  htim4.Init.AutoReloadPreload = TIM_AUTORELOAD_PRELOAD_DISABLE;
  if (HAL_TIM_Base_Init(&htim4) != HAL_OK)
  {
    Error_Handler();
  }
  sClockSourceConfig.ClockSource = TIM_CLOCKSOURCE_INTERNAL;
  if (HAL_TIM_ConfigClockSource(&htim4, &sClockSourceConfig) != HAL_OK)
  {
    Error_Handler();
  }
  if (HAL_TIM_PWM_Init(&htim4) != HAL_OK)
  {
    Error_Handler();
  }
  sMasterConfig.MasterOutputTrigger = TIM_TRGO_RESET;
  sMasterConfig.MasterSlaveMode = TIM_MASTERSLAVEMODE_DISABLE;
  if (HAL_TIMEx_MasterConfigSynchronization(&htim4, &sMasterConfig) != HAL_OK)
  {
    Error_Handler();
  }
  sConfigOC.OCMode = TIM_OCMODE_PWM1;
  sConfigOC.Pulse = 30;
  sConfigOC.OCPolarity = TIM_OCPOLARITY_HIGH;
  sConfigOC.OCFastMode = TIM_OCFAST_DISABLE;
  if (HAL_TIM_PWM_ConfigChannel(&htim4, &sConfigOC, TIM_CHANNEL_1) != HAL_OK)
  {
    Error_Handler();
  }
  sConfigOC.Pulse = 90;
  if (HAL_TIM_PWM_ConfigChannel(&htim4, &sConfigOC, TIM_CHANNEL_2) != HAL_OK)
  {
    Error_Handler();
  }
  HAL_TIM_MspPostInit(&htim4);

}

static void MX_GPIO_Init(void)
{
  GPIO_InitTypeDef GPIO_InitStruct = {0};

  /* GPIO Ports Clock Enable */
  __HAL_RCC_GPIOE_CLK_ENABLE();
  __HAL_RCC_GPIOC_CLK_ENABLE();
  __HAL_RCC_GPIOH_CLK_ENABLE();
  __HAL_RCC_GPIOA_CLK_ENABLE();
  __HAL_RCC_GPIOB_CLK_ENABLE();
  __HAL_RCC_GPIOD_CLK_ENABLE();

  /*Configure GPIO pin Output Level */
  HAL_GPIO_WritePin(CS_I2C_SPI_GPIO_Port, CS_I2C_SPI_Pin, GPIO_PIN_RESET);

  /*Configure GPIO pin Output Level */
  HAL_GPIO_WritePin(OTG_FS_PowerSwitchOn_GPIO_Port, OTG_FS_PowerSwitchOn_Pin, GPIO_PIN_SET);

  /*Configure GPIO pin Output Level */
  HAL_GPIO_WritePin(GPIOD, GPIO_PIN_9|APIN_Pin|BPIN_Pin|LD3_Pin
                          |LD5_Pin|LD6_Pin|Audio_RST_Pin, GPIO_PIN_RESET);

  /*Configure GPIO pin : CS_I2C_SPI_Pin */
  GPIO_InitStruct.Pin = CS_I2C_SPI_Pin;
  GPIO_InitStruct.Mode = GPIO_MODE_OUTPUT_PP;
  GPIO_InitStruct.Pull = GPIO_NOPULL;
  GPIO_InitStruct.Speed = GPIO_SPEED_FREQ_LOW;
  HAL_GPIO_Init(CS_I2C_SPI_GPIO_Port, &GPIO_InitStruct);

  /*Configure GPIO pins : Straight_Pin Right_Pin Left_Pin */
  GPIO_InitStruct.Pin = Straight_Pin|Right_Pin|Left_Pin;
  GPIO_InitStruct.Mode = GPIO_MODE_INPUT;
  GPIO_InitStruct.Pull = GPIO_PULLDOWN;
  HAL_GPIO_Init(GPIOE, &GPIO_InitStruct);

  /*Configure GPIO pin : OTG_FS_PowerSwitchOn_Pin */
  GPIO_InitStruct.Pin = OTG_FS_PowerSwitchOn_Pin;
  GPIO_InitStruct.Mode = GPIO_MODE_OUTPUT_PP;
  GPIO_InitStruct.Pull = GPIO_NOPULL;
  GPIO_InitStruct.Speed = GPIO_SPEED_FREQ_LOW;
  HAL_GPIO_Init(OTG_FS_PowerSwitchOn_GPIO_Port, &GPIO_InitStruct);

  /*Configure GPIO pin : PDM_OUT_Pin */
  GPIO_InitStruct.Pin = PDM_OUT_Pin;
  GPIO_InitStruct.Mode = GPIO_MODE_AF_PP;
  GPIO_InitStruct.Pull = GPIO_NOPULL;
  GPIO_InitStruct.Speed = GPIO_SPEED_FREQ_LOW;
  GPIO_InitStruct.Alternate = GPIO_AF5_SPI2;
  HAL_GPIO_Init(PDM_OUT_GPIO_Port, &GPIO_InitStruct);

  /*Configure GPIO pin : B1_Pin */
  GPIO_InitStruct.Pin = B1_Pin;
  GPIO_InitStruct.Mode = GPIO_MODE_IT_RISING;
  GPIO_InitStruct.Pull = GPIO_NOPULL;
  HAL_GPIO_Init(B1_GPIO_Port, &GPIO_InitStruct);

  /*Configure GPIO pin : BOOT1_Pin */
  GPIO_InitStruct.Pin = BOOT1_Pin;
  GPIO_InitStruct.Mode = GPIO_MODE_INPUT;
  GPIO_InitStruct.Pull = GPIO_NOPULL;
  HAL_GPIO_Init(BOOT1_GPIO_Port, &GPIO_InitStruct);

  /*Configure GPIO pin : CLK_IN_Pin */
  GPIO_InitStruct.Pin = CLK_IN_Pin;
  GPIO_InitStruct.Mode = GPIO_MODE_AF_PP;
  GPIO_InitStruct.Pull = GPIO_NOPULL;
  GPIO_InitStruct.Speed = GPIO_SPEED_FREQ_LOW;
  GPIO_InitStruct.Alternate = GPIO_AF5_SPI2;
  HAL_GPIO_Init(CLK_IN_GPIO_Port, &GPIO_InitStruct);

  /*Configure GPIO pins : PD9 APIN_Pin BPIN_Pin LD3_Pin
                           LD5_Pin LD6_Pin Audio_RST_Pin */
  GPIO_InitStruct.Pin = GPIO_PIN_9|APIN_Pin|BPIN_Pin|LD3_Pin
                          |LD5_Pin|LD6_Pin|Audio_RST_Pin;
  GPIO_InitStruct.Mode = GPIO_MODE_OUTPUT_PP;
  GPIO_InitStruct.Pull = GPIO_NOPULL;
  GPIO_InitStruct.Speed = GPIO_SPEED_FREQ_LOW;
  HAL_GPIO_Init(GPIOD, &GPIO_InitStruct);

  /*Configure GPIO pin : OTG_FS_OverCurrent_Pin */
  GPIO_InitStruct.Pin = OTG_FS_OverCurrent_Pin;
  GPIO_InitStruct.Mode = GPIO_MODE_INPUT;
  GPIO_InitStruct.Pull = GPIO_NOPULL;
  HAL_GPIO_Init(OTG_FS_OverCurrent_GPIO_Port, &GPIO_InitStruct);

  /*Configure GPIO pins : Reverse_Pin Stop_Pin */
  GPIO_InitStruct.Pin = Reverse_Pin|Stop_Pin;
  GPIO_InitStruct.Mode = GPIO_MODE_INPUT;
  GPIO_InitStruct.Pull = GPIO_PULLDOWN;
  HAL_GPIO_Init(GPIOB, &GPIO_InitStruct);

  /*Configure GPIO pin : MEMS_INT2_Pin */
  GPIO_InitStruct.Pin = MEMS_INT2_Pin;
  GPIO_InitStruct.Mode = GPIO_MODE_EVT_RISING;
  GPIO_InitStruct.Pull = GPIO_NOPULL;
  HAL_GPIO_Init(MEMS_INT2_GPIO_Port, &GPIO_InitStruct);

  /* EXTI interrupt init*/
  HAL_NVIC_SetPriority(EXTI0_IRQn, 0, 0);
  HAL_NVIC_EnableIRQ(EXTI0_IRQn);

}

void Error_Handler(void)
{
}

/************************ (C) COPYRIGHT STMicroelectronics *****END OF FILE****/
